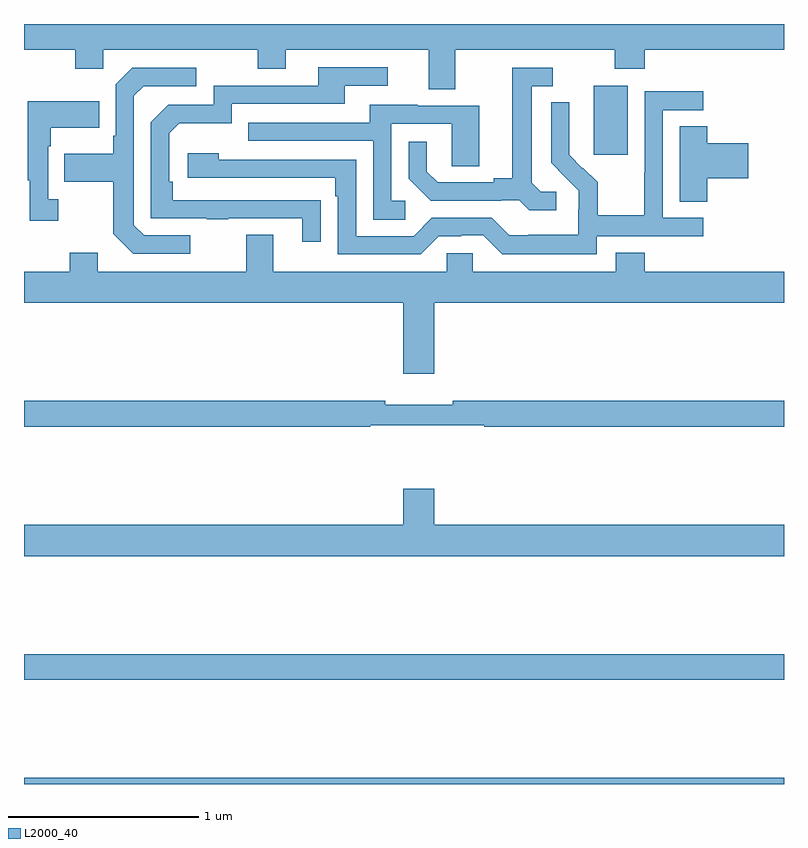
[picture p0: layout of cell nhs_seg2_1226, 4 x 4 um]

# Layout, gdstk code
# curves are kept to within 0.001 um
import gdstk
lib = gdstk.Library(unit=1e-6, precision=1e-09)
def R(c, l, rs):  # rectangles x0, y0, x1, y1
    for r in rs: c.add(gdstk.rectangle(r[:2], r[2:], *l))
def P(c, l, *ps):  # polygons
    for p in ps: c.add(gdstk.Polygon(p, *l))
L2000_40 = (2000, 40)

nhs_seg2_1226 = lib.new_cell('nhs_seg2_1226')
R(nhs_seg2_1226, L2000_40, [(175,615.8,179,615.832), (175,616.348,179,616.484), (177.998,619.113,178.177,619.474)])
P(nhs_seg2_1226, L2000_40, [(177.271,619.664),(178.108,619.664),(178.108,619.565),(178.268,619.565),(178.268,619.664),(179,619.664),(179,619.8),(175,619.8),(175,619.664),(175.27,619.664),(175.27,619.565),(175.416,619.565),(175.416,619.664),(176.23,619.664),(176.23,619.565),(176.377,619.565),(176.377,619.664),(177.131,619.664),(177.131,619.456),(177.271,619.456)],
  [(176.561,618.872),(175.784,618.873),(175.784,618.97),(175.764,618.97),(175.764,619.224),(175.817,619.277),(176.094,619.277),(176.094,619.38),(176.689,619.38),(176.689,619.476),(176.914,619.476),(176.914,619.572),(176.549,619.572),(176.549,619.476),(175.998,619.476),(175.998,619.374),(175.758,619.374),(175.668,619.284),(175.668,618.777),(175.963,618.777),(175.963,618.772),(176.075,618.772),(176.075,618.777),(176.465,618.777),(176.465,618.654),(176.561,618.654)],
  [(177.802,618.918),(177.72,618.918),(177.673,618.965),(177.673,619.473),(177.784,619.473),(177.784,619.569),(177.569,619.569),(177.569,618.989),(177.473,618.989),(177.473,618.966),(177.178,618.966),(177.121,619.023),(177.121,619.18),(177.024,619.18),(177.024,618.986),(177.14,618.87),(177.512,618.87),(177.512,618.873),(177.606,618.873),(177.658,618.821),(177.802,618.821)],
  [(175.876,618.687),(175.632,618.687),(175.578,618.741),(175.578,619.422),(175.629,619.473),(175.906,619.473),(175.906,619.569),(175.569,619.569),(175.482,619.482),(175.482,619.213),(175.47,619.213),(175.47,619.117),(175.213,619.117),(175.213,618.97),(175.47,618.97),(175.47,618.697),(175.575,618.591),(175.876,618.591)],
  [(178.014,618.684),(178.576,618.684),(178.576,618.78),(178.362,618.78),(178.362,619.347),(178.576,619.347),(178.576,619.446),(178.266,619.446),(178.266,619.016),(178.264,619.016),(178.264,618.793),(178.019,618.793),(178.019,618.967),(177.942,619.044),(177.939,619.041),(177.869,619.112),(177.87,619.388),(177.774,619.388),(177.774,619.07),(177.92,618.922),(177.92,618.825),(177.918,618.825),(177.918,618.691),(177.655,618.691),(177.655,618.687),(177.555,618.687),(177.462,618.78),(177.147,618.78),(177.051,618.684),(176.748,618.684),(176.748,619.086),(176.024,619.086),(176.024,619.12),(175.863,619.12),(175.863,618.99),(176.639,618.99),(176.639,618.893),(176.652,618.893),(176.652,618.588),(177.087,618.588),(177.183,618.684),(177.302,618.684),(177.302,618.687),(177.417,618.687),(177.517,618.587),(178.014,618.587)],
  [(175.18,618.878),(175.128,618.878),(175.128,619.157),(175.141,619.157),(175.141,619.253),(175.397,619.253),(175.397,619.393),(175.02,619.393),(175.02,618.977),(175.031,618.977),(175.031,618.765),(175.18,618.765)],
  [(177.007,618.87),(176.934,618.87),(176.934,619.275),(177.252,619.275),(177.252,619.051),(177.397,619.051),(177.397,619.371),(177.073,619.371),(177.073,619.375),(176.819,619.375),(176.819,619.281),(176.179,619.281),(176.179,619.185),(176.838,619.185),(176.838,618.769),(177.007,618.769)],
  [(178.595,618.989),(178.813,618.989),(178.813,619.172),(178.595,619.172),(178.595,619.262),(178.451,619.262),(178.451,618.865),(178.595,618.865)],
  [(179,618.496),(178.268,618.496),(178.268,618.595),(178.115,618.595),(178.115,618.496),(177.363,618.496),(177.363,618.594),(177.225,618.594),(177.225,618.496),(176.311,618.496),(176.311,618.691),(176.171,618.691),(176.171,618.496),(175.387,618.496),(175.387,618.595),(175.24,618.595),(175.24,618.496),(175,618.496),(175,618.332),(176.996,618.332),(176.996,617.958),(177.16,617.958),(177.16,618.332),(179,618.332)],
  [(176.822,617.688),(177.422,617.688),(177.422,617.68),(179,617.68),(179,617.816),(177.256,617.816),(177.256,617.797),(176.9,617.797),(176.9,617.816),(175,617.816),(175,617.68),(176.822,617.68)],
  [(179,617.164),(177.16,617.164),(177.16,617.353),(176.996,617.353),(176.996,617.164),(175,617.164),(175,617),(179,617)])

lib.write_gds('nhs_seg2_1226.gds')
